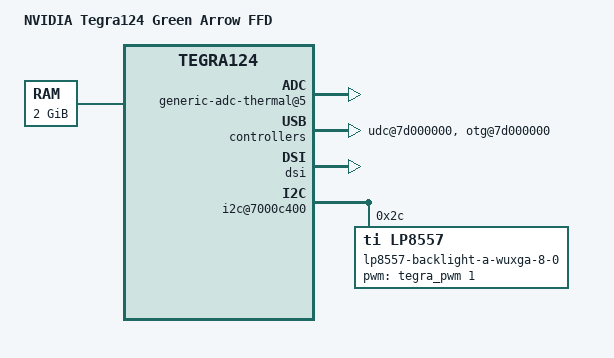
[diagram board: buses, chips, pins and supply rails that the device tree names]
/*
 * tegra124-green-arrow-p2267-base-a00.dts: DTS file for Green Arrow base
 *
 * Copyright (c) 2015, NVIDIA CORPORATION.  All rights reserved.
 *
 * This program is free software; you can redistribute it and/or modify
 * it under the terms of the GNU General Public License as published by
 * the Free Software Foundation; either version 2 of the License, or
 * (at your option) any later version.
 *
 * This program is distributed in the hope that it will be useful, but WITHOUT
 * ANY WARRANTY; without even the implied warranty of MERCHANTABILITY or
 * FITNESS FOR A PARTICULAR PURPOSE.  See the GNU General Public License for
 * more details.
 */

/dts-v1/;

#include "tegra124-soc-shield.dtsi"
#include "tegra124-platforms/tegra124-green-arrow-pinmux-p2267-1000-a00.dtsi"
#include "tegra124-platforms/tegra124-green-arrow-p2267-io-common.dtsi"
#include "tegra124-platforms/tegra124-green-arrow-power-tree-p2267-e1936-1000-a00.dtsi"
#include "tegra124-platforms/tegra124-green-arrow-touch.dtsi"
#include "tegra124-platforms/tegra124-green-arrow-p2267-sensor-1000-a00.dtsi"
#include "tegra124-platforms/tegra124-green-arrow-keys-p2267-1000-a00.dtsi"
#include "tegra124-platforms/tegra124-green-arrow-dfll.dtsi"
#include "tegra124-platforms/tegra124-green-arrow-camera-p2267-1000-a00.dtsi"
#include "tegra124-platforms/tegra124-green-arrow-usb-devices.dtsi"
#include "tegra124-platforms/tegra124-tn8-hdmi-p1761-1270-a03.dtsi"
#include "panel-s-wuxga-7-0.dtsi"
#include "panel-s-wuxga-8-0.dtsi"
#include "panel-a-wuxga-8-0.dtsi"

#include "tegra124-platforms/tegra124-green-arrow-thermal-zone-p2267-1000-a00.dtsi"

/* TODO: comm's dtsi should be included after GPIO dtsi */
#include "tegra124-platforms/tegra124-green-arrow-comms.dtsi"

/ {
	model = "NVIDIA Tegra124 Green Arrow FFD";
	compatible = "nvidia,green-arrow", "nvidia,tegra124";
	nvidia,dtsfilename = __FILE__;
	#address-cells = <2>;
	#size-cells = <2>;

	chosen {
		bootargs = "tegraid=40.0.0.00.00 vmalloc=256M video=tegrafb console=ttyS0,115200n8 earlyprintk";
		linux,initrd-start = <0x85000000>;
		linux,initrd-end = <0x851bc400>;
	};

	firmware {
		android {
			compatible = "android,firmware";
			hardware = "green-arrow";
		};
	};

	gpio: gpio@6000d000 {
		camera_control {
			gpio-output-low = <
				TEGRA_GPIO(BB, 3)
				TEGRA_GPIO(BB, 5)
				TEGRA_GPIO(BB, 6)
				TEGRA_GPIO(BB, 7)
				>;
		};
	};

	camera-pcl {
		profiles {
			ov5693@x_0010 {
				use_of_node = "yes";
				dev_name = "ov5693";
				num = <0>;
				avdd-supply = <&ldo4_reg>;
				dvdd-supply = <&ldo7_reg>;
				dovdd-supply = <&en_vdd_cam_1v8>;
				cam2-gpios = <&gpio TEGRA_GPIO(BB, 5) 1>;
			};
			ad5823@x_000c {
				use_of_node = "yes";
				vdd-supply = <&ldo7_reg>;
				vif-supply = <&en_vdd_cam_1v8>;
				af-pwdn-gpios = <&gpio TEGRA_GPIO(BB, 7) 1>;
			};
			imx132@x_0036 {
				use_of_node = "yes";
				dev_name = "imx132";
				num = <1>;
				vana-supply = <&ldo7_reg>;
				vdig-supply = <&en_vdd_cam_1v2>;
				vif-supply = <&en_vdd_cam_1v8>;
				cam2-gpios = <&gpio TEGRA_GPIO(BB, 6) 1>;
			};
		};
		dpd {
			compatible = "nvidia,csi-dpd";
			#address-cells = <1>;
			#size-cells = <0>;
			default-enable;
			num = <5>;
			csia {
				reg = <0x0 0x0 0x0 0x0>;
			};
			csib {
				reg = <0x0 0x1 0x0 0x0>;
			};
			csic {
				reg = <0x1 0x0a 0x0 0x0>;
			};
			csid {
				reg = <0x1 0x0b 0x0 0x0>;
			};
			csie {
				reg = <0x1 0x0c 0x0 0x0>;
			};
		};
	};

	i2c@7000d000 {
		palmas: tps65913 {
			thermal {
				status = "okay";
			};

			gpadc {
				ti,auto-conversion-period-ms = <500>;
				auto_conv0 {
					ti,adc-channel-number = <3>;
					ti,adc-low-threshold = <1980>;
					ti,enable-shutdown;
				};
			};

			pmic {
				regulators {
					ldo3 {
						regulator-min-microvolt = <3300000>;
						regulator-max-microvolt = <3300000>;
						regulator-enable-ramp-delay = <3000>;
						ti,disable-pull-down;
					};
				};
			};
		};
	};

	regulator {
		regulator@8  {
			vin-supply = <&ldo3_reg>;
			regulator-disable-parent-after-enable;
		};
	};

	generic-adc-thermal@5 {
		status = "okay";
	};

	thermal-zones {
		PMIC-Die {
			status = "okay";
		};

		Battery {
			status = "okay";
		};
	};

	watchdog@60005100 {
		status = "disabled";
		nvidia,enable-on-init;
		nvidia,heartbeat-init = <120>;
		dt-override-status-odm-data = <0x80000000 0x80000000>;
	};

	soft_watchdog {
		compatible = "softdog-platform";
		status = "disabled";
		dt-override-status-odm-data = <0x80000000 0x00000000>;
	};

	udc@7d000000 {
		nvidia,port-otg;
		nvidia,charging-supported;
		nvidia,turn-off-vbus-in-lp0;
		nvidia,dcp-current-limit-ua = <3000000>;
		nvidia,qc2-input-voltage = <TEGRA_USB_QC2_12V>;
		nvidia,qc2-current-limit-ua = <1200000>;
		nvidia,id-detection-type = <1>;
		nvidia,enable-pmu-vbus-detection;
		extcon-cables = <&palmas_extcon 0>;
		extcon-cable-names = "vbus";
		#extcon-cells = <1>;
		status = "okay";
	};

	otg@7d000000 {
		nvidia,enable-pmu-vbus-detection;
		nvidia,id-detection-type = <1>;
		extcon-cables = <&palmas_extcon 0 &palmas_extcon 1>;
		extcon-cable-names = "vbus", "id";
		#extcon-cells = <1>;
		status = "okay";
	};

	ehci@7d000000 {
		nvidia,port-otg;
		nvidia,has-hostpc;
		nvidia,turn_off_vbus_on_lp0;
		nvidia,id-detection-type = <2>;
		nvidia,hssync-start-delay = <0>;
		nvidia,idle-wait-delay = <17>;
		nvidia,elastic-limit = <16>;
		nvidia,term-range-adj = <6>;
		nvidia,xcvr-setup = <15>;
		nvidia,xcvr-lsfslew = <2>;
		nvidia,xcvr-lsrslew = <2>;
		nvidia,xcvr-use-fuses;
		nvidia,vbus-oc-map = <4>;
		nvidia,xcvr-setup-offset = <0>;
		status = "disabled";
	};

	memory@0x80000000 {
		device_type = "memory";
		reg = <0x0 0x80000000 0x0 0x80000000>;
	};

	host1x {
		/* tegradc.0 */
		dc@54200000 {
			status = "okay";
			nvidia,dc-flags = <TEGRA_DC_FLAG_ENABLED>;
			nvidia,emc-clk-rate = <204000000>;
			nvidia,cmu-enable = <1>;
			nvidia,low-v-win = <0x2>;
			nvidia,fb-bpp = <32>; /* bits per pixel */
			nvidia,fb-flags = <TEGRA_FB_FLIP_ON_PROBE>;
		};
		/* tegradc.1 */
		dc@54240000 {
			status = "okay";
			nvidia,dc-flags = <TEGRA_DC_FLAG_ENABLED>;
			nvidia,emc-clk-rate = <300000000>;
			nvidia,fb-bpp = <32>; /* bits per pixel */
			nvidia,fb-flags = <TEGRA_FB_FLIP_ON_PROBE>;
		};
		dsi {
			nvidia,dsi-controller-vs = <DSI_VS_1>;
			status = "okay";
			panel-a-wuxga-8-0 {
				/* Enabling this node explicitly for initial panel support */
				status = "okay";
				nvidia,dsi-boardinfo = <1761 0 0 1>;
				nvidia,panel-rst-gpio = <&gpio TEGRA_GPIO(N, 4) 0>; /* PN4 */
				nvidia,panel-bl-pwm-gpio = <&gpio TEGRA_GPIO(H, 1) 0>; /* PH1 */
				disp-default-out {
					nvidia,out-rotation = <180>;
				};
			};
			panel-s-wuxga-7-0 {
				nvidia,dsi-boardinfo = <1761 0 0 1>;
				nvidia,panel-rst-gpio = <&gpio TEGRA_GPIO(N, 4) 0>; /* PN4 */
				nvidia,panel-bl-pwm-gpio = <&gpio TEGRA_GPIO(H, 1) 0>; /* PH1 */
				disp-default-out {
					nvidia,out-rotation = <180>;
				};
			};
			panel-s-wuxga-8-0 {
				nvidia,dsi-boardinfo = <1761 0 0 1>;
				nvidia,panel-rst-gpio = <&gpio TEGRA_GPIO(N, 4) 0>; /* PN4 */
				nvidia,panel-bl-pwm-gpio = <&gpio TEGRA_GPIO(H, 1) 0>; /* PH1 */
				disp-default-out {
					nvidia,out-rotation = <180>;
				};
			};
		};
	};

	backlight {
		status = "okay";
		disable-on-kernel-charging;

		panel-a-wuxga-8-0-bl {
			/* Enabling this node explicitly for initial panel support */
			status = "okay";
		};
	};

	i2c@7000c400 {
		status = "okay";
		lp8557-backlight-a-wuxga-8-0@2c {
			/* Enabling this node explicitly for initial panel support */
			status = "okay";
			compatible = "ti,lp8557";
			reg = <0x2c>;

			bl-name = "pwm-backlight"; /* Match liblights naming expectations */
			init-brt = /bits/ 8 <0xFF>; /* Max brightness */
			dev-ctrl = /bits/ 8 <0x80>; /* PWM, enable standby mode */
			pwm-period = <29334>;

			pwm-names = "lp8557";
			pwms = <&tegra_pwm 1 29334>;

			/* 3 LED string */
			rom_14h {
				rom-addr = /bits/ 8 <0x14>;
				rom-val = /bits/ 8 <0x87>;
			};

			/*Boost freq 1MHZ*/
			rom_13h {
				rom-addr = /bits/ 8 <0x13>;
				rom-val = /bits/ 8 <0x01>;
			};
		};

		lp8557-backlight-s-wuxga-7-0@2c {
			status = "disabled";
			compatible = "ti,lp8557";
			reg = <0x2c>;

			bl-name = "pwm-backlight"; /* Match liblights naming expectations */
			init-brt = /bits/ 8 <0xFF>; /* Max brightness */
			dev-ctrl = /bits/ 8 <0x80>; /* PWM, enable standby mode */
			pwm-period = <29334>;

			pwm-names = "lp8557";
			pwms = <&tegra_pwm 1 29334>;

			/* 5 LED string */
			rom_14h {
				rom-addr = /bits/ 8 <0x14>;
				rom-val = /bits/ 8 <0x9f>;
			};

			/*Boost freq 1MHZ*/
			rom_13h {
				rom-addr = /bits/ 8 <0x13>;
				rom-val = /bits/ 8 <0x01>;
			};
		};

		lp8557-backlight-s-wuxga-8-0@2c {
			status = "disabled";
			compatible = "ti,lp8557";
			reg = <0x2c>;

			bl-name = "pwm-backlight"; /* Match liblights naming expectations */
			init-brt = /bits/ 8 <0xFF>; /* Max brightness */
			dev-ctrl = /bits/ 8 <0x80>; /* PWM, enable standby mode */
			pwm-period = <29334>;

			pwm-names = "lp8557";
			pwms = <&tegra_pwm 1 29334>;

			/* 5 LED string */
			rom_14h {
				rom-addr = /bits/ 8 <0x14>;
				rom-val = /bits/ 8 <0x9f>;
			};

			/*Boost freq 1MHZ*/
			rom_13h {
				rom-addr = /bits/ 8 <0x13>;
				rom-val = /bits/ 8 <0x01>;
			};
		};
	};

	therm_est_sensor {
		status = "okay";
		subdev {
			subdev_names = "Tdiode", "Tboard";
		};
	};

	rollback-protection {
		device-name = "sdmmc";
		device-method = <0x1 0x00000002>;  /* type (0x1 = ioctl), argument */
		status = "okay";
	};
};
